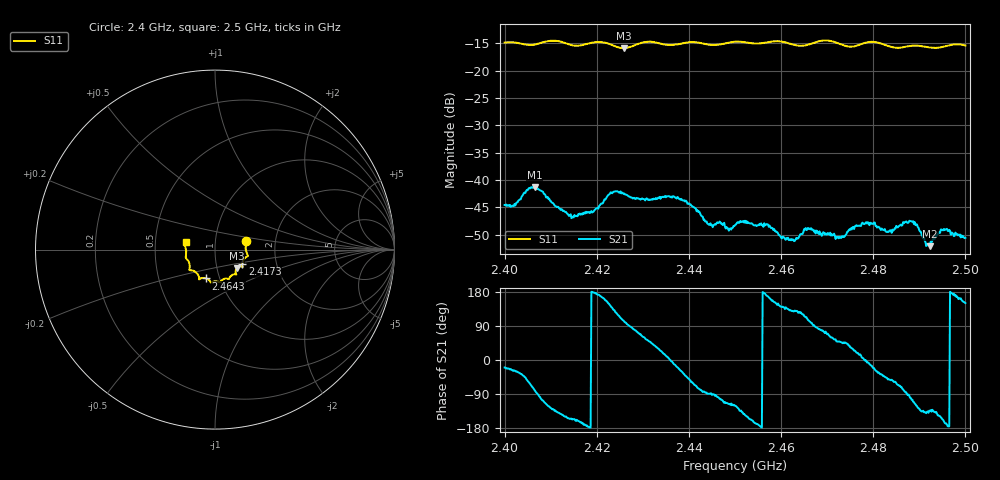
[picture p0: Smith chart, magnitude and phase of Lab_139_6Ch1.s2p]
# Hz S RI R 50
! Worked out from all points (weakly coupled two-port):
!   601 points, 2.4 GHz to 2.5 GHz, reference 50 ohm
!   highest |S21| = -41.27 dB at 2.4065 GHz (marker M1); lowest = -52.1 dB at 2.4923 GHz (marker M2)
!   lowest |S11| = -15.9 dB at 2.4258 GHz (marker M3), VSWR 1.38, Z = 62.3 - j13.2 ohm
!   |S11| at or under -10 dB: start of sweep to end of sweep
!   S12 and S22 are empty: the file has one direction only
!   S11 on the Smith chart (normalised r, x): 2.4 GHz: 1.41, +0.14; 2.4173 GHz: 1.34, -0.23; 2.4643 GHz: 0.86, -0.28; 2.5 GHz: 0.72, +0.06
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2.4e9  0.173 0.0489  0.00558 -0.00201  0 0  0 0
2.4065e9  0.1724 -0.00415  0.00161 -0.00849  0 0  0 0
2.414167e9  0.1652 -0.0485  -0.00435 -0.00198  0 0  0 0
2.416667e9  0.1526 -0.0748  -0.00476 -0.00133  0 0  0 0
2.417333e9  0.1517 -0.0823  -0.00499 -0.00089  0 0  0 0
2.423333e9  0.1428 -0.0938  -0.00565 0.00506  0 0  0 0
2.425833e9  0.1221 -0.1034  -0.0018 0.00727  0 0  0 0
2.433333e9  0.1126 -0.1376  0.00598 0.00349  0 0  0 0
2.439e9  0.0798 -0.1593  0.00515 -0.00402  0 0  0 0
2.444667e9  0.0583 -0.1612  0.00012 -0.00403  0 0  0 0
2.45e9  0.0289 -0.1809  -0.002 -0.00334  0 0  0 0
2.456833e9  -0.0129 -0.1798  -0.00391 0.000679  0 0  0 0
2.4625e9  -0.033 -0.1697  -0.00184 0.00222  0 0  0 0
2.464333e9  -0.0497 -0.1605  -0.00187 0.00263  0 0  0 0
2.466667e9  -0.076 -0.1592  -0.000464 0.0035  0 0  0 0
2.472333e9  -0.0889 -0.1537  0.00202 0.00227  0 0  0 0
2.479833e9  -0.1432 -0.1136  0.00379 -0.00129  0 0  0 0
2.483333e9  -0.1405 -0.0899  0.00212 -0.00261  0 0  0 0
2.4885e9  -0.1616 -0.0477  -0.00108 -0.00405  0 0  0 0
2.492333e9  -0.1609 -0.0221  -0.00176 -0.00176  0 0  0 0
2.495167e9  -0.1642 0.0113  -0.00323 -0.00131  0 0  0 0
2.5e9  -0.1639 0.0425  -0.00258 0.00148  0 0  0 0
